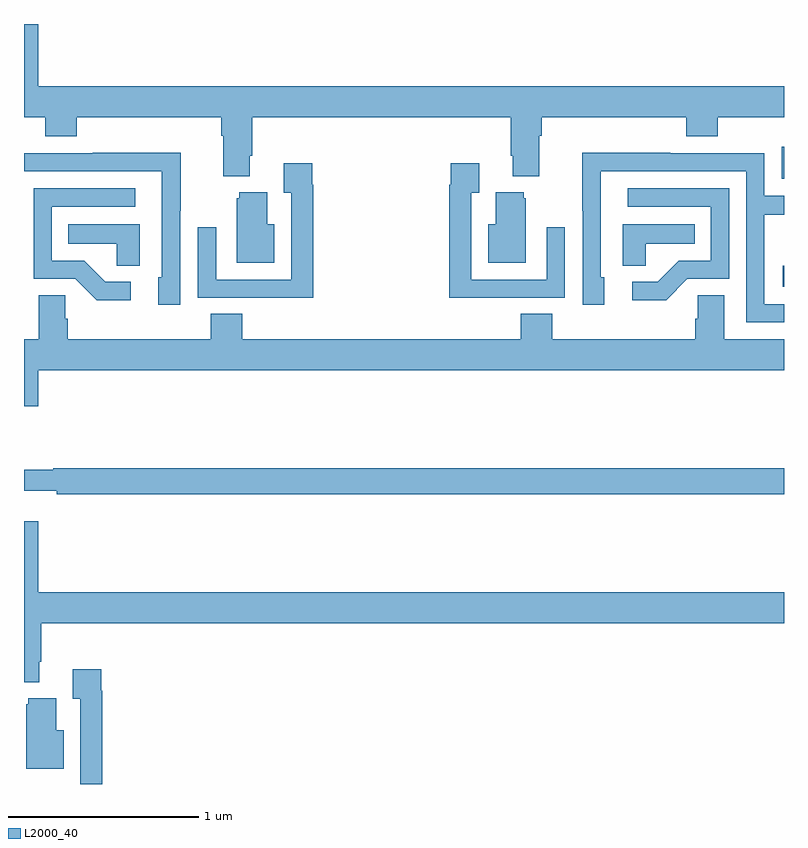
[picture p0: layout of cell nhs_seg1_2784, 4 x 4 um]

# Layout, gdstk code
import gdstk
lib = gdstk.Library(unit=1e-6, precision=1e-09)
def R(c, l, rs):  # rectangles x0, y0, x1, y1
    for r in rs: c.add(gdstk.rectangle(r[:2], r[2:], *l))
def P(c, l, *ps):  # polygons
    for p in ps: c.add(gdstk.Polygon(p, *l))
L2000_40 = (2000, 40)

nhs_seg1_2784 = lib.new_cell('nhs_seg1_2784')
R(nhs_seg1_2784, L2000_40, [(264.993,574.817,265,574.927), (264.987,575.385,265,575.554)])
P(nhs_seg1_2784, L2000_40, [(262.189,575.506),(262.202,575.506),(262.202,575.708),(263.561,575.708),(263.561,575.506),(263.573,575.506),(263.573,575.399),(263.713,575.399),(263.713,575.612),(263.726,575.612),(263.726,575.708),(264.485,575.708),(264.485,575.609),(264.65,575.609),(264.65,575.708),(265,575.708),(265,575.872),(261.076,575.872),(261.076,576.199),(261,576.199),(261,575.708),(261.113,575.708),(261.113,575.609),(261.278,575.609),(261.278,575.708),(262.037,575.708),(262.037,575.612),(262.049,575.612),(262.049,575.399),(262.189,575.399)],
  [(261.822,575.215),(261.825,575.215),(261.825,575.522),(261.361,575.522),(261.361,575.52),(261,575.52),(261,575.424),(261.726,575.424),(261.726,574.866),(261.707,574.866),(261.707,574.722),(261.822,574.722)],
  [(265,574.725),(264.897,574.725),(264.897,575.194),(265,575.194),(265,575.295),(264.897,575.295),(264.897,575.52),(264.401,575.52),(264.401,575.522),(263.938,575.522),(263.938,575.215),(263.94,575.215),(263.94,574.722),(264.055,574.722),(264.055,574.866),(264.036,574.866),(264.036,575.424),(264.801,575.424),(264.801,574.629),(265,574.629)],
  [(262.523,575.354),(262.516,575.354),(262.516,575.467),(262.367,575.467),(262.367,575.311),(262.407,575.311),(262.407,574.854),(262.011,574.854),(262.011,575.128),(261.915,575.128),(261.915,574.758),(262.231,574.758),(262.231,574.757),(262.523,574.757)],
  [(263.531,574.758),(263.847,574.758),(263.847,575.128),(263.751,575.128),(263.751,574.854),(263.355,574.854),(263.355,575.311),(263.395,575.311),(263.395,575.467),(263.247,575.467),(263.247,575.354),(263.239,575.354),(263.239,574.757),(263.531,574.757)],
  [(264.492,574.857),(264.711,574.857),(264.711,575.334),(264.177,575.334),(264.177,575.238),(264.615,575.238),(264.615,574.953),(264.446,574.953),(264.335,574.842),(264.201,574.842),(264.201,574.745),(264.379,574.745)],
  [(261.562,574.842),(261.427,574.842),(261.316,574.953),(261.147,574.953),(261.147,575.238),(261.586,575.238),(261.586,575.334),(261.051,575.334),(261.051,574.857),(261.27,574.857),(261.383,574.745),(261.562,574.745)],
  [(262.318,575.146),(262.279,575.146),(262.279,575.314),(262.133,575.314),(262.133,575.283),(262.121,575.283),(262.121,574.943),(262.318,574.943)],
  [(263.641,575.283),(263.63,575.283),(263.63,575.314),(263.483,575.314),(263.483,575.146),(263.444,575.146),(263.444,574.943),(263.641,574.943)],
  [(264.273,575.042),(264.53,575.042),(264.53,575.146),(264.152,575.146),(264.152,574.927),(264.273,574.927)],
  [(261.61,575.146),(261.232,575.146),(261.232,575.042),(261.489,575.042),(261.489,574.927),(261.61,574.927)],
  [(261.076,574.376),(265,574.376),(265,574.54),(264.685,574.54),(264.685,574.772),(264.546,574.772),(264.546,574.649),(264.533,574.649),(264.533,574.54),(263.78,574.54),(263.78,574.673),(263.615,574.673),(263.615,574.54),(262.148,574.54),(262.148,574.673),(261.983,574.673),(261.983,574.54),(261.23,574.54),(261.23,574.649),(261.216,574.649),(261.216,574.772),(261.077,574.772),(261.077,574.54),(261,574.54),(261,574.188),(261.076,574.188)],
  [(265,573.86),(261.155,573.86),(261.155,573.853),(261,573.853),(261,573.743),(261.172,573.743),(261.172,573.724),(265,573.724)],
  [(261.079,572.842),(261.092,572.842),(261.092,573.044),(265,573.044),(265,573.208),(261.076,573.208),(261.076,573.583),(261,573.583),(261,572.735),(261.079,572.735)],
  [(261.413,572.69),(261.406,572.69),(261.406,572.803),(261.257,572.803),(261.257,572.647),(261.297,572.647),(261.297,572.199),(261.413,572.199)],
  [(261.208,572.482),(261.169,572.482),(261.169,572.65),(261.023,572.65),(261.023,572.619),(261.011,572.619),(261.011,572.279),(261.208,572.279)])

lib.write_gds('nhs_seg1_2784.gds')
